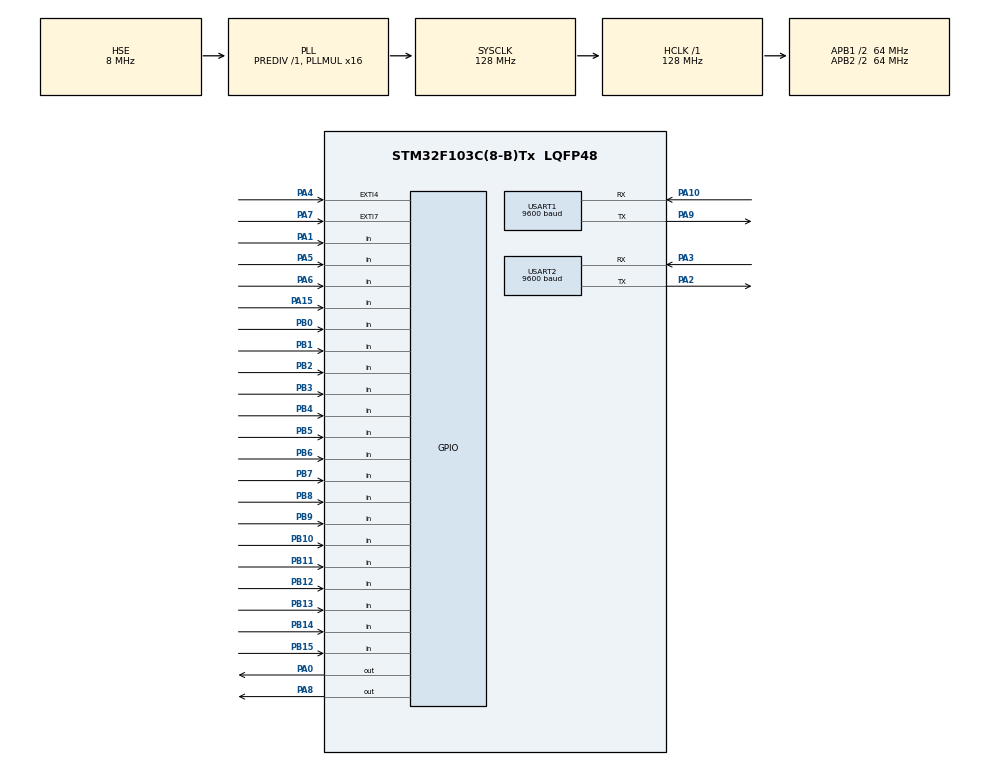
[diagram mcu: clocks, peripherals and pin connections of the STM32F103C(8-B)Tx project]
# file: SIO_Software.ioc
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Dma.Request0=USART1_RX
Dma.Request1=USART1_TX
Dma.USART1_RX.0.Direction=DMA_PERIPH_TO_MEMORY
Dma.USART1_RX.0.Instance=DMA1_Channel5
Dma.USART1_RX.0.MemDataAlignment=DMA_MDATAALIGN_BYTE
Dma.USART1_RX.0.MemInc=DMA_MINC_ENABLE
Dma.USART1_RX.0.Mode=DMA_CIRCULAR
Dma.USART1_RX.0.PeriphDataAlignment=DMA_PDATAALIGN_BYTE
Dma.USART1_RX.0.PeriphInc=DMA_PINC_DISABLE
Dma.USART1_RX.0.Priority=DMA_PRIORITY_LOW
Dma.USART1_TX.1.Direction=DMA_MEMORY_TO_PERIPH
Dma.USART1_TX.1.Instance=DMA1_Channel4
Dma.USART1_TX.1.MemDataAlignment=DMA_MDATAALIGN_BYTE
Dma.USART1_TX.1.MemInc=DMA_MINC_ENABLE
Dma.USART1_TX.1.Mode=DMA_NORMAL
Dma.USART1_TX.1.PeriphDataAlignment=DMA_PDATAALIGN_BYTE
Dma.USART1_TX.1.PeriphInc=DMA_PINC_DISABLE
Dma.USART1_TX.1.Priority=DMA_PRIORITY_LOW
Mcu.Family=STM32F1
Mcu.Name=STM32F103C(8-B)Tx
Mcu.Package=LQFP48
NVIC.DMA1_Channel4_IRQn=true\:0\:0\:false\:false\:true\:false\:true
NVIC.DMA1_Channel5_IRQn=true\:0\:0\:false\:false\:true\:false\:true
NVIC.EXTI4_IRQn=true\:1\:0\:true\:false\:true\:true\:true
NVIC.PriorityGroup=NVIC_PRIORITYGROUP_4
NVIC.USART1_IRQn=true\:0\:0\:false\:false\:true\:true\:true
NVIC.USART2_IRQn=true\:0\:0\:false\:false\:true\:true\:true
PA0-WKUP.GPIO_Speed=GPIO_SPEED_FREQ_HIGH
PA0-WKUP.Signal=GPIO_Output
PA1.Signal=GPIO_Input
PA10.Mode=Asynchronous
PA10.Signal=USART1_RX
PA11.Signal=USB_DM
PA13.Mode=Serial_Wire
PA13.Signal=SYS_JTMS-SWDIO
PA14.Mode=Serial_Wire
PA14.Signal=SYS_JTCK-SWCLK
PA15.Signal=GPIO_Input
PA2.Mode=Asynchronous
PA2.Signal=USART2_TX
PA3.Mode=Asynchronous
PA3.Signal=USART2_RX
PA4.Signal=GPXTI4
PA5.Signal=GPIO_Input
PA6.Signal=GPIO_Input
PA7.Signal=GPXTI7
PA8.Signal=GPIO_Output
PA9.Mode=Asynchronous
PA9.Signal=USART1_TX
PB0.Signal=GPIO_Input
PB1.Signal=GPIO_Input
PB10.GPIO_PuPd=GPIO_PULLDOWN
PB10.Signal=GPIO_Input
PB11.GPIO_PuPd=GPIO_PULLDOWN
PB11.Signal=GPIO_Input
PB12.GPIO_PuPd=GPIO_PULLDOWN
PB12.Signal=GPIO_Input
PB13.GPIO_PuPd=GPIO_PULLDOWN
PB13.Signal=GPIO_Input
PB14.GPIO_PuPd=GPIO_PULLDOWN
PB14.Signal=GPIO_Input
PB15.GPIO_PuPd=GPIO_PULLDOWN
PB15.Signal=GPIO_Input
PB2.Signal=GPIO_Input
PB3.Signal=GPIO_Input
PB4.Signal=GPIO_Input
PB5.Signal=GPIO_Input
PB6.Signal=GPIO_Input
PB7.Signal=GPIO_Input
PB8.GPIO_PuPd=GPIO_PULLDOWN
PB8.Signal=GPIO_Input
PB9.GPIO_PuPd=GPIO_PULLDOWN
PB9.Signal=GPIO_Input
PD0-OSC_IN.Mode=HSE-External-Oscillator
PD0-OSC_IN.Signal=RCC_OSC_IN
PD1-OSC_OUT.Mode=HSE-External-Oscillator
PD1-OSC_OUT.Signal=RCC_OSC_OUT
ProjectManager.HeapSize=0x200
ProjectManager.StackSize=0x400
ProjectManager.TargetToolchain=SW4STM32
RCC.AHBFreq_Value=128000000
RCC.APB1CLKDivider=RCC_HCLK_DIV2
RCC.APB1Freq_Value=64000000
RCC.APB1TimFreq_Value=128000000
RCC.APB2CLKDivider=RCC_HCLK_DIV2
RCC.APB2Freq_Value=64000000
RCC.APB2TimFreq_Value=128000000
RCC.HCLKFreq_Value=128000000
RCC.PLLMUL=RCC_PLL_MUL16
RCC.PLLSourceVirtual=RCC_PLLSOURCE_HSE
RCC.SYSCLKFreq_VALUE=128000000
RCC.SYSCLKSource=RCC_SYSCLKSOURCE_PLLCLK
RCC.USBFreq_Value=85333333.33333333
RCC.USBPrescaler=RCC_USBCLKSOURCE_PLL_DIV1_5
USART1.BaudRate=9600
USART1.VirtualMode=VM_ASYNC
USART2.BaudRate=9600
USART2.VirtualMode=VM_ASYNC
VP_TIM1_VS_ClockSourceITR.Mode=TriggerSource_ITR0
board=custom

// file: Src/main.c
/* USER CODE BEGIN Header */
/**
  ******************************************************************************
  * @file           : main.c
  * @brief          : Main program body
  ******************************************************************************
  * @attention
  *
  * <h2><center>&copy; Copyright (c) 2019 STMicroelectronics.
  * All rights reserved.</center></h2>
  *
  * This software component is licensed by ST under BSD 3-Clause license,
  * the "License"; You may not use this file except in compliance with the
  * License. You may obtain a copy of the License at:
  *                        opensource.org/licenses/BSD-3-Clause
  *
  ******************************************************************************
  */
/* USER CODE END Header */

#include "main.h"

/* USER CODE BEGIN Includes */
#include "sio_emulation.h"
#include <stdbool.h>
/* USER CODE END Includes */

TIM_HandleTypeDef htim1;

UART_HandleTypeDef huart1;
UART_HandleTypeDef huart2;
DMA_HandleTypeDef hdma_usart1_rx;
DMA_HandleTypeDef hdma_usart1_tx;

void SystemClock_Config(void);
static void MX_GPIO_Init(void);
static void MX_DMA_Init(void);
static void MX_USART1_UART_Init(void);
static void MX_USART2_UART_Init(void);
static void MX_TIM1_Init(void);

/* USER CODE BEGIN 0 */
typedef enum {
    CARD_IDLE,
    OUT_PREP,
    OUT_READ,
    IN_READ
} SERIAL_EMU_STATE;
/* USER CODE END 0 */

int main(void)
{

  /* MCU Configuration--------------------------------------------------------*/

  /* Reset of all peripherals, Initializes the Flash interface and the Systick. */
  HAL_Init();

  /* Configure the system clock */
  SystemClock_Config();

  /* Initialize all configured peripherals */
  MX_GPIO_Init();
  MX_DMA_Init();
  MX_USART1_UART_Init();
  MX_USART2_UART_Init();
  MX_TIM1_Init();
  /* USER CODE BEGIN 2 */

    if (HAL_DMA_Start(&hdma_usart1_rx, (uint32_t) &huart1.Instance->DR,
                      (uint32_t) serial_1_rx_buffer, SERIAL_1_RX_BUFFER_SIZE) != HAL_OK) {
        HAL_GPIO_WritePin(GPIOA, GPIO_PIN_0, GPIO_PIN_SET);
    }
    SERIAL_EMU_STATE state = CARD_IDLE;
  /* USER CODE END 2 */

  /* Infinite loop */
  /* USER CODE BEGIN WHILE */
    uint32_t data = 0;
    uint32_t enabled = 1;

    /* USER CODE END WHILE */

    /* USER CODE BEGIN 3 */

    uint32_t staged = 0;
    while (1) { // down state
        uint32_t portb = GPIOB->IDR;
        uint32_t porta = GPIOA->IDR;
        // CHANNEL_1_CTRL_PORT == 0x03
        // CHANNEL_1_DATA_PORT == 0x02

        // 0000 0000 0000 0000
        // 0000 0011 0000 0000 == mask
        //

        bool address_match = portb & (3u << 8u);

        if (likely(address_match && (porta & sINP))) {
            if (likely(enabled)) {
                activate_addr_match;
                GPIOB->CRL = OUTPUT_PP_PORT_H;
                GPIOB->ODR = staged;

                //HAL_GPIO_WritePin(GPIOA, GPIO_PIN_0, 1);
                GPIOA->BSRR = 1;

                // write actually happened.

                if (portb == CHANNEL_1_DATA_PORT << 8u) {
                    data++;
                }

                enabled = 0;

                while ((GPIOA->IDR) & sINP);
                GPIOA->BSRR = 1u << 16u;

            }
            continue;
        } else {
            // reset rising edge detector.

            GPIOA->BSRR = 1u << 16u;
            enabled = 1;
        }

        if (likely(address_match)) {
            // address matches, stage data

            if (portb == CHANNEL_1_CTRL_PORT << 8u) {
                staged = FIX_BITS[get_serial_state(USART1)];
            }

            if (portb == CHANNEL_1_DATA_PORT << 8u) {
                // set up staged values
                staged = FIX_BITS[(1u << ((data >> 16u) & 0x7u)) & 0xffu];
            }
        } else {
            // address doesn't match

            deactivate_addr_match;
            GPIOB->CRL = INPUT_FLOATING_PORT_H;
        }
    }

  /* USER CODE END 3 */
}

void SystemClock_Config(void)
{
  RCC_OscInitTypeDef RCC_OscInitStruct = {0};
  RCC_ClkInitTypeDef RCC_ClkInitStruct = {0};

  /** Initializes the CPU, AHB and APB busses clocks
  */
  RCC_OscInitStruct.OscillatorType = RCC_OSCILLATORTYPE_HSE;
  RCC_OscInitStruct.HSEState = RCC_HSE_ON;
  RCC_OscInitStruct.HSEPredivValue = RCC_HSE_PREDIV_DIV1;
  RCC_OscInitStruct.HSIState = RCC_HSI_ON;
  RCC_OscInitStruct.PLL.PLLState = RCC_PLL_ON;
  RCC_OscInitStruct.PLL.PLLSource = RCC_PLLSOURCE_HSE;
  RCC_OscInitStruct.PLL.PLLMUL = RCC_PLL_MUL16;
  if (HAL_RCC_OscConfig(&RCC_OscInitStruct) != HAL_OK)
  {
    Error_Handler();
  }
  /** Initializes the CPU, AHB and APB busses clocks
  */
  RCC_ClkInitStruct.ClockType = RCC_CLOCKTYPE_HCLK|RCC_CLOCKTYPE_SYSCLK
                              |RCC_CLOCKTYPE_PCLK1|RCC_CLOCKTYPE_PCLK2;
  RCC_ClkInitStruct.SYSCLKSource = RCC_SYSCLKSOURCE_PLLCLK;
  RCC_ClkInitStruct.AHBCLKDivider = RCC_SYSCLK_DIV1;
  RCC_ClkInitStruct.APB1CLKDivider = RCC_HCLK_DIV2;
  RCC_ClkInitStruct.APB2CLKDivider = RCC_HCLK_DIV2;

  if (HAL_RCC_ClockConfig(&RCC_ClkInitStruct, FLASH_LATENCY_2) != HAL_OK)
  {
    Error_Handler();
  }
}

static void MX_TIM1_Init(void)
{

  TIM_SlaveConfigTypeDef sSlaveConfig = {0};
  TIM_MasterConfigTypeDef sMasterConfig = {0};

  htim1.Instance = TIM1;
  htim1.Init.Prescaler = 0;
  htim1.Init.CounterMode = TIM_COUNTERMODE_UP;
  htim1.Init.Period = 0;
  htim1.Init.ClockDivision = TIM_CLOCKDIVISION_DIV1;
  htim1.Init.RepetitionCounter = 0;
  htim1.Init.AutoReloadPreload = TIM_AUTORELOAD_PRELOAD_DISABLE;
  if (HAL_TIM_Base_Init(&htim1) != HAL_OK)
  {
    Error_Handler();
  }
  sSlaveConfig.SlaveMode = TIM_SLAVEMODE_DISABLE;
  sSlaveConfig.InputTrigger = TIM_TS_ITR0;
  if (HAL_TIM_SlaveConfigSynchronization(&htim1, &sSlaveConfig) != HAL_OK)
  {
    Error_Handler();
  }
  sMasterConfig.MasterOutputTrigger = TIM_TRGO_RESET;
  sMasterConfig.MasterSlaveMode = TIM_MASTERSLAVEMODE_DISABLE;
  if (HAL_TIMEx_MasterConfigSynchronization(&htim1, &sMasterConfig) != HAL_OK)
  {
    Error_Handler();
  }

}

static void MX_USART1_UART_Init(void)
{

  huart1.Instance = USART1;
  huart1.Init.BaudRate = 9600;
  huart1.Init.WordLength = UART_WORDLENGTH_8B;
  huart1.Init.StopBits = UART_STOPBITS_1;
  huart1.Init.Parity = UART_PARITY_NONE;
  huart1.Init.Mode = UART_MODE_TX_RX;
  huart1.Init.HwFlowCtl = UART_HWCONTROL_NONE;
  huart1.Init.OverSampling = UART_OVERSAMPLING_16;
  if (HAL_UART_Init(&huart1) != HAL_OK)
  {
    Error_Handler();
  }
  /* USER CODE BEGIN USART1_Init 2 */
    __HAL_UART_ENABLE_IT(&huart1, UART_IT_IDLE);
  /* USER CODE END USART1_Init 2 */

}

static void MX_USART2_UART_Init(void)
{

  huart2.Instance = USART2;
  huart2.Init.BaudRate = 9600;
  huart2.Init.WordLength = UART_WORDLENGTH_8B;
  huart2.Init.StopBits = UART_STOPBITS_1;
  huart2.Init.Parity = UART_PARITY_NONE;
  huart2.Init.Mode = UART_MODE_TX_RX;
  huart2.Init.HwFlowCtl = UART_HWCONTROL_NONE;
  huart2.Init.OverSampling = UART_OVERSAMPLING_16;
  if (HAL_UART_Init(&huart2) != HAL_OK)
  {
    Error_Handler();
  }

}

static void MX_DMA_Init(void)
{
  /* DMA controller clock enable */
  __HAL_RCC_DMA1_CLK_ENABLE();

  /* DMA interrupt init */
  /* DMA1_Channel4_IRQn interrupt configuration */
  HAL_NVIC_SetPriority(DMA1_Channel4_IRQn, 0, 0);
  HAL_NVIC_EnableIRQ(DMA1_Channel4_IRQn);
  /* DMA1_Channel5_IRQn interrupt configuration */
  HAL_NVIC_SetPriority(DMA1_Channel5_IRQn, 0, 0);
  HAL_NVIC_EnableIRQ(DMA1_Channel5_IRQn);

}

static void MX_GPIO_Init(void)
{
  GPIO_InitTypeDef GPIO_InitStruct = {0};

  /* GPIO Ports Clock Enable */
  __HAL_RCC_GPIOD_CLK_ENABLE();
  __HAL_RCC_GPIOA_CLK_ENABLE();
  __HAL_RCC_GPIOB_CLK_ENABLE();

  /*Configure GPIO pin Output Level */
  HAL_GPIO_WritePin(GPIOA, GPIO_PIN_0|GPIO_PIN_8, GPIO_PIN_RESET);

  /*Configure GPIO pin : PA0 */
  GPIO_InitStruct.Pin = GPIO_PIN_0;
  GPIO_InitStruct.Mode = GPIO_MODE_OUTPUT_PP;
  GPIO_InitStruct.Pull = GPIO_NOPULL;
  GPIO_InitStruct.Speed = GPIO_SPEED_FREQ_HIGH;
  HAL_GPIO_Init(GPIOA, &GPIO_InitStruct);

  /*Configure GPIO pins : PA1 PA5 PA6 PA15 */
  GPIO_InitStruct.Pin = GPIO_PIN_1|GPIO_PIN_5|GPIO_PIN_6|GPIO_PIN_15;
  GPIO_InitStruct.Mode = GPIO_MODE_INPUT;
  GPIO_InitStruct.Pull = GPIO_NOPULL;
  HAL_GPIO_Init(GPIOA, &GPIO_InitStruct);

  /*Configure GPIO pins : PA4 PA7 */
  GPIO_InitStruct.Pin = GPIO_PIN_4|GPIO_PIN_7;
  GPIO_InitStruct.Mode = GPIO_MODE_IT_RISING;
  GPIO_InitStruct.Pull = GPIO_NOPULL;
  HAL_GPIO_Init(GPIOA, &GPIO_InitStruct);

  /*Configure GPIO pins : PB0 PB1 PB2 PB3
                           PB4 PB5 PB6 PB7 */
  GPIO_InitStruct.Pin = GPIO_PIN_0|GPIO_PIN_1|GPIO_PIN_2|GPIO_PIN_3
                          |GPIO_PIN_4|GPIO_PIN_5|GPIO_PIN_6|GPIO_PIN_7;
  GPIO_InitStruct.Mode = GPIO_MODE_INPUT;
  GPIO_InitStruct.Pull = GPIO_NOPULL;
  HAL_GPIO_Init(GPIOB, &GPIO_InitStruct);

  /*Configure GPIO pins : PB10 PB11 PB12 PB13
                           PB14 PB15 PB8 PB9 */
  GPIO_InitStruct.Pin = GPIO_PIN_10|GPIO_PIN_11|GPIO_PIN_12|GPIO_PIN_13
                          |GPIO_PIN_14|GPIO_PIN_15|GPIO_PIN_8|GPIO_PIN_9;
  GPIO_InitStruct.Mode = GPIO_MODE_INPUT;
  GPIO_InitStruct.Pull = GPIO_PULLDOWN;
  HAL_GPIO_Init(GPIOB, &GPIO_InitStruct);

  /*Configure GPIO pin : PA8 */
  GPIO_InitStruct.Pin = GPIO_PIN_8;
  GPIO_InitStruct.Mode = GPIO_MODE_OUTPUT_PP;
  GPIO_InitStruct.Pull = GPIO_NOPULL;
  GPIO_InitStruct.Speed = GPIO_SPEED_FREQ_LOW;
  HAL_GPIO_Init(GPIOA, &GPIO_InitStruct);

  /* EXTI interrupt init*/
  HAL_NVIC_SetPriority(EXTI4_IRQn, 1, 0);
  HAL_NVIC_EnableIRQ(EXTI4_IRQn);

}

void Error_Handler(void)
{
}

/************************ (C) COPYRIGHT STMicroelectronics *****END OF FILE****/
